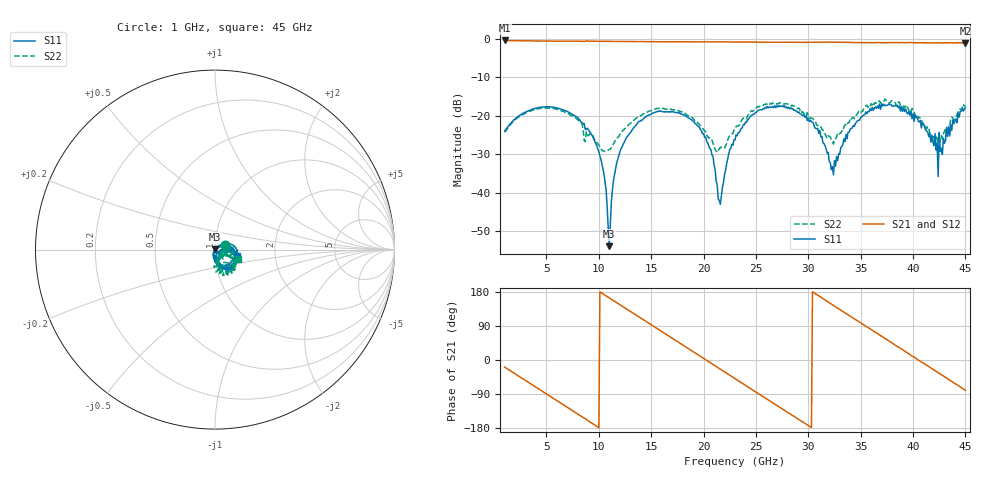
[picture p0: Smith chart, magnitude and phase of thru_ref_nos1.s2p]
!Keysight Technologies,N5247B,MY61255062,A.19.80.06
!Date: Monday, May 18, 2026 12:08:08
!Correction: S11(Cdelta 2-Port  )
!S21(Cdelta 2-Port  )
!S12(Cdelta 2-Port  )
!S22(Cdelta 2-Port  )
!S2P File: Measurements: S11, S21, S12, S22:
# Hz S  dB  R 50
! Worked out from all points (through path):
!   441 points, 1 GHz to 45 GHz, reference 50 ohm
!   highest |S21| = -0.41 dB at 1 GHz (marker M1); lowest = -1.1 dB at 45 GHz (marker M2)
!   group delay of S21, straight-line fit = 49.3 ps
!   lowest |S11| = -53.8 dB at 11 GHz (marker M3), VSWR 1.00, Z = 50 + j0.201 ohm
!   |S11| at or under -10 dB: start of sweep to end of sweep
!   |S22| runs from -29.4 to -15.6 dB; largest |S21 - S12| = 0.014
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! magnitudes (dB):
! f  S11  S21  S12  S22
! 1 GHz  -23.9  -0.4  -0.4  -24.2
! 4.7 GHz  -17.7  -0.6  -0.6  -18.0
! 8.4 GHz  -21.9  -0.6  -0.6  -22.1
! 10.1 GHz  -30.4  -0.6  -0.6  -28.1
! 10.5 GHz  -35.3  -0.6  -0.6  -29.2
! 11 GHz  -53.8  -0.7  -0.7  -28.7
! 11.6 GHz  -33.7  -0.7  -0.7  -26.3
! 12.3 GHz  -27.5  -0.7  -0.7  -23.8
! 15.7 GHz  -18.7  -0.8  -0.8  -18.0
! 19.6 GHz  -22.9  -0.8  -0.8  -22.2
! 20.7 GHz  -28.7  -0.8  -0.8  -26.1
! 21.6 GHz  -43.0  -0.8  -0.8  -28.1
! 22.4 GHz  -29.8  -0.8  -0.8  -25.6
! 23 GHz  -26.2  -0.8  -0.8  -23.2
! 26.1 GHz  -17.6  -0.9  -0.9  -17.1
! 30.4 GHz  -21.6  -0.9  -0.9  -20.7
! 32.4 GHz  -35.3  -0.8  -0.9  -27.3
! 34.5 GHz  -22.0  -1.0  -1.0  -20.1
! 37.7 GHz  -17.0  -1.0  -1.0  -16.8
! 40.4 GHz  -20.3  -1.0  -1.0  -20.8
! 42.6 GHz  -29.2  -1.0  -1.0  -25.8
! 45 GHz  -17.8  -1.1  -1.1  -17.4
